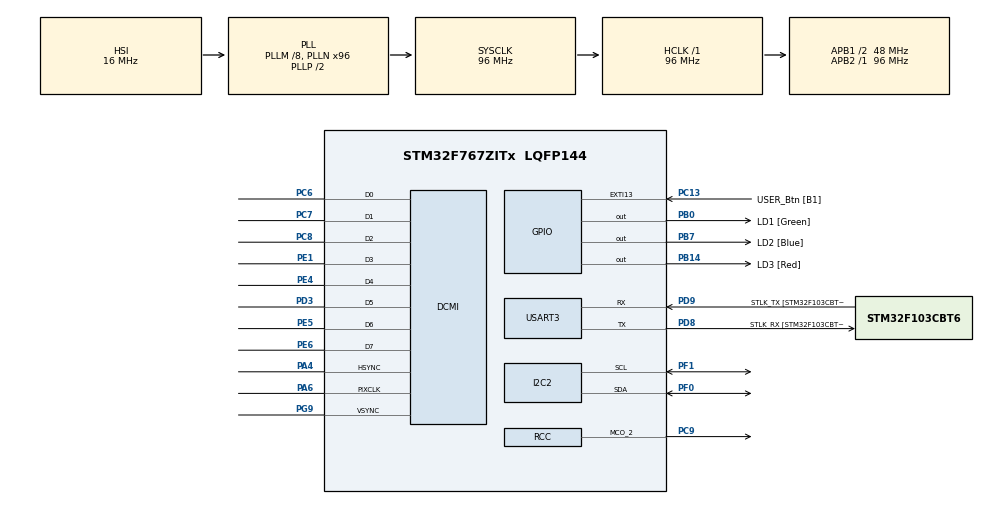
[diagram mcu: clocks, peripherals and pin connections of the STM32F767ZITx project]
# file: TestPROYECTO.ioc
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CORTEX_M7.CPU_DCache=Enabled
CORTEX_M7.CPU_ICache=Enabled
CORTEX_M7.PREFETCH_ENABLE=1
DCMI.HSPolarity=DCMI_HSPOLARITY_HIGH
DCMI.PCKPolarity=DCMI_PCKPOLARITY_RISING
DCMI.VSPolarity=DCMI_VSPOLARITY_LOW
Dma.DCMI.0.Direction=DMA_PERIPH_TO_MEMORY
Dma.DCMI.0.FIFOMode=DMA_FIFOMODE_ENABLE
Dma.DCMI.0.FIFOThreshold=DMA_FIFO_THRESHOLD_FULL
Dma.DCMI.0.Instance=DMA2_Stream1
Dma.DCMI.0.MemBurst=DMA_MBURST_SINGLE
Dma.DCMI.0.MemDataAlignment=DMA_MDATAALIGN_WORD
Dma.DCMI.0.MemInc=DMA_MINC_ENABLE
Dma.DCMI.0.Mode=DMA_CIRCULAR
Dma.DCMI.0.PeriphBurst=DMA_PBURST_SINGLE
Dma.DCMI.0.PeriphDataAlignment=DMA_PDATAALIGN_WORD
Dma.DCMI.0.PeriphInc=DMA_PINC_DISABLE
Dma.DCMI.0.Priority=DMA_PRIORITY_LOW
Dma.Request0=DCMI
I2C2.Timing=0x20303E5D
Mcu.Family=STM32F7
Mcu.Name=STM32F767ZITx
Mcu.Package=LQFP144
NVIC.DCMI_IRQn=true\:0\:0\:false\:false\:true\:true\:true\:true
NVIC.DMA2_Stream1_IRQn=true\:0\:0\:false\:false\:true\:false\:true\:true
NVIC.PriorityGroup=NVIC_PRIORITYGROUP_4
PA13.GPIO_Label=TMS
PA13.Mode=Serial_Wire
PA13.Signal=SYS_JTMS-SWDIO
PA14.GPIO_Label=TCK
PA14.Mode=Serial_Wire
PA14.Signal=SYS_JTCK-SWCLK
PA4.Mode=Slave_8_bits_External_Synchro
PA4.Signal=DCMI_HSYNC
PA6.Mode=Slave_8_bits_External_Synchro
PA6.Signal=DCMI_PIXCLK
PB0.GPIO_Label=LD1 [Green]
PB0.Signal=GPIO_Output
PB14.GPIO_Label=LD3 [Red]
PB14.Signal=GPIO_Output
PB3.GPIO_Label=SWO
PB3.Signal=SYS_JTDO-SWO
PB7.GPIO_Label=LD2 [Blue]
PB7.Signal=GPIO_Output
PC13.GPIO_Label=USER_Btn [B1]
PC13.Signal=GPXTI13
PC14/OSC32_IN.Mode=LSE-External-Oscillator
PC14/OSC32_IN.Signal=RCC_OSC32_IN
PC15/OSC32_OUT.Mode=LSE-External-Oscillator
PC15/OSC32_OUT.Signal=RCC_OSC32_OUT
PC6.Mode=Slave_8_bits_External_Synchro
PC6.Signal=DCMI_D0
PC7.Mode=Slave_8_bits_External_Synchro
PC7.Signal=DCMI_D1
PC8.Mode=Slave_8_bits_External_Synchro
PC8.Signal=DCMI_D2
PC9.Mode=Clock-out-2
PC9.Signal=RCC_MCO_2
PD3.Mode=Slave_8_bits_External_Synchro
PD3.Signal=DCMI_D5
PD8.GPIO_Label=STLK_RX [STM32F103CBT6_PA3]
PD8.Mode=Asynchronous
PD8.Signal=USART3_TX
PD9.GPIO_Label=STLK_TX [STM32F103CBT6_PA2]
PD9.Mode=Asynchronous
PD9.Signal=USART3_RX
PE1.Mode=Slave_8_bits_External_Synchro
PE1.Signal=DCMI_D3
PE4.Mode=Slave_8_bits_External_Synchro
PE4.Signal=DCMI_D4
PE5.Mode=Slave_8_bits_External_Synchro
PE5.Signal=DCMI_D6
PE6.Mode=Slave_8_bits_External_Synchro
PE6.Signal=DCMI_D7
PF0.Mode=I2C
PF0.Signal=I2C2_SDA
PF1.Mode=I2C
PF1.Signal=I2C2_SCL
PG9.Mode=Slave_8_bits_External_Synchro
PG9.Signal=DCMI_VSYNC
PH0/OSC_IN.GPIO_Label=MCO [STM32F103CBT6_PA8]
PH0/OSC_IN.Signal=RCC_OSC_IN
PH1/OSC_OUT.Signal=RCC_OSC_OUT
ProjectManager.HeapSize=0x200
ProjectManager.StackSize=0x400
ProjectManager.TargetToolchain=STM32CubeIDE
RCC.48MHZClocksFreq_Value=24000000
RCC.AHBFreq_Value=96000000
RCC.APB1CLKDivider=RCC_HCLK_DIV2
RCC.APB1Freq_Value=48000000
RCC.APB1TimFreq_Value=96000000
RCC.APB2Freq_Value=96000000
RCC.APB2TimFreq_Value=96000000
RCC.CortexFreq_Value=96000000
RCC.HCLKFreq_Value=96000000
RCC.HSE_VALUE=8000000
RCC.HSI_VALUE=16000000
RCC.PLLM=8
RCC.PLLMUL=RCC_PLL_MUL9
RCC.PLLN=96
RCC.PLLQ=4
RCC.PRESCALERUSB=RCC_USBCLKSOURCE_PLL_DIV1_5
RCC.RCC_MCODiv2=RCC_MCODIV_5
RCC.SYSCLKFreq_VALUE=96000000
RCC.SYSCLKSource=RCC_SYSCLKSOURCE_PLLCLK
RCC.SYSCLKSourceVirtual=RCC_SYSCLKSOURCE_PLLCLK
RCC.USBFreq_Value=48000000
RCC.VCOOutputFreq_Value=192000000
USART3.VirtualMode-Asynchronous=VM_ASYNC
board=NUCLEO-F767ZI

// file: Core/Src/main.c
/* USER CODE BEGIN Header */
/**
  ******************************************************************************
  * @file           : main.c
  * @brief          : Main program body - Smontoya
  *
  ******************************************************************************
  * @attention
  *
  * Copyright (c) 2023 STMicroelectronics.
  * All rights reserved.
  *
  * This software is licensed under terms that can be found in the LICENSE file
  * in the root directory of this software component.
  * If no LICENSE file comes with this software, it is provided AS-IS.
  *
  ******************************************************************************
  */
/* USER CODE END Header */
#include "main.h"

/* USER CODE BEGIN Includes */
#include "OV7670.h"
#include <string.h>
#include <stdio.h>
#include <stdint.h>
#include <stdbool.h>
/* USER CODE END Includes */

DCMI_HandleTypeDef hdcmi;
DMA_HandleTypeDef hdma_dcmi;

I2C_HandleTypeDef hi2c2;

UART_HandleTypeDef huart3;

/* USER CODE BEGIN PV */
HAL_StatusTypeDef ret;
char usart_buffer[64] = {0};
uint8_t i2c_buffer = 0;
uint32_t image_data[88*72] = {0}; //max resolution is CIF

uint32_t count = 0;
uint8_t DMA_cplt = 0;
Camera_settings OV7670_settings={
		QQCIF, 		//Resolution
		YUV422, 	//Format
		NORMAL, 	//Effect
		ON,			//AEC
		ON, 		//AGC
		ON, 		//AWB
		OFF,		//Color bar
		OFF,		//vertical flip
		OFF,		//Horizontal flip
		OFF,		//Night mode
		OFF,		//ASC
		ON,			//De-noise
		ON,			//Banding filter
		HISTOGRAM,	//AEC algorithm
		QUARTER_FPS,//Min. fps in night mode
		F_AUTO,		//Auto detect banding freq.
		256, 		//Exposure - 2 bytes
		4, 			//Gain	[0-7]=[1-128]
		160,		//Brightness - byte
		64, 		//Contrast - byte
		80, 		//Saturation - byte
		2,			//Sharpness	- [0-31]
		0,			//De-noise strength - byte
		x16, 		//Gain ceiling
		77, 		//R channel gain - byte
		103, 		//G channel gain - byte
		153			//B channel gain - byte
};
/* USER CODE END PV */

void SystemClock_Config(void);
static void MX_GPIO_Init(void);
static void MX_DMA_Init(void);
static void MX_DCMI_Init(void);
static void MX_I2C2_Init(void);
static void MX_USART3_UART_Init(void);
/* USER CODE BEGIN PFP */
void DMATransferComplete(DMA_HandleTypeDef *hdma);
/* USER CODE END PFP */

int main(void)
{

  /* Enable I-Cache---------------------------------------------------------*/
  SCB_EnableICache();

  /* Enable D-Cache---------------------------------------------------------*/
  SCB_EnableDCache();

  /* MCU Configuration--------------------------------------------------------*/

  /* Reset of all peripherals, Initializes the Flash interface and the Systick. */
  HAL_Init();

  /* Configure the system clock */
  SystemClock_Config();

  /* Initialize all configured peripherals */
  MX_GPIO_Init();
  MX_DMA_Init();
  MX_DCMI_Init();
  MX_I2C2_Init();
  MX_USART3_UART_Init();
  /* USER CODE BEGIN 2 */

  HAL_DMA_RegisterCallback(&hdma_dcmi, HAL_DMA_XFER_CPLT_CB_ID, &DMATransferComplete);
  OV7670_Power(DISABLE);
  OV7670_Init(&hdcmi, &hdma_dcmi, &hi2c2);

  OV7670_PowerUp();
  OV7670_UpdateSettings(OV7670_settings);
  HAL_Delay(10);

  OV7670_ReadSCCB(0x0b, &i2c_buffer);

  sprintf(usart_buffer, "ID %x\n", i2c_buffer);
  HAL_UART_Transmit(&huart3,(uint8_t*) usart_buffer, strlen(usart_buffer), 100);

  OV7670_ReadSCCB(0x0a, &i2c_buffer);
  sprintf(usart_buffer, "ID %x\n", i2c_buffer);
  HAL_UART_Transmit(&huart3,(uint8_t*) usart_buffer, strlen(usart_buffer), 100);

  ret = HAL_DCMI_Start_DMA(&hdcmi, DCMI_MODE_SNAPSHOT, (uint32_t)image_data, 88*72);
  if(ret != HAL_OK){
	sprintf(usart_buffer, "Error DCMI DMA\n");
	HAL_UART_Transmit(&huart3,(uint8_t*) usart_buffer, strlen(usart_buffer), 100);
  }
  HAL_Delay(100);

  /* USER CODE END 2 */

  /* Infinite loop */
  /* USER CODE BEGIN WHILE */
  while (1)
  {
	  if(DMA_cplt != 0){
		  HAL_UART_Transmit(&huart3, (uint8_t*)"FRAME", sizeof("FRAME"), 100);
	  }
	  else if(image_data[count] != 0){
		  HAL_UART_Transmit(&huart3, (uint8_t*)image_data[count], 4, 100);
		  count++;
	  }
    /* USER CODE END WHILE */

  }
}

void SystemClock_Config(void)
{
  RCC_OscInitTypeDef RCC_OscInitStruct = {0};
  RCC_ClkInitTypeDef RCC_ClkInitStruct = {0};

  /** Configure LSE Drive Capability
  */
  HAL_PWR_EnableBkUpAccess();

  /** Configure the main internal regulator output voltage
  */
  __HAL_RCC_PWR_CLK_ENABLE();
  __HAL_PWR_VOLTAGESCALING_CONFIG(PWR_REGULATOR_VOLTAGE_SCALE3);

  /** Initializes the RCC Oscillators according to the specified parameters
  * in the RCC_OscInitTypeDef structure.
  */
  RCC_OscInitStruct.OscillatorType = RCC_OSCILLATORTYPE_HSI;
  RCC_OscInitStruct.HSIState = RCC_HSI_ON;
  RCC_OscInitStruct.HSICalibrationValue = RCC_HSICALIBRATION_DEFAULT;
  RCC_OscInitStruct.PLL.PLLState = RCC_PLL_ON;
  RCC_OscInitStruct.PLL.PLLSource = RCC_PLLSOURCE_HSI;
  RCC_OscInitStruct.PLL.PLLM = 8;
  RCC_OscInitStruct.PLL.PLLN = 96;
  RCC_OscInitStruct.PLL.PLLP = RCC_PLLP_DIV2;
  RCC_OscInitStruct.PLL.PLLQ = 4;
  RCC_OscInitStruct.PLL.PLLR = 2;
  if (HAL_RCC_OscConfig(&RCC_OscInitStruct) != HAL_OK)
  {
    Error_Handler();
  }

  /** Activate the Over-Drive mode
  */
  if (HAL_PWREx_EnableOverDrive() != HAL_OK)
  {
    Error_Handler();
  }

  /** Initializes the CPU, AHB and APB buses clocks
  */
  RCC_ClkInitStruct.ClockType = RCC_CLOCKTYPE_HCLK|RCC_CLOCKTYPE_SYSCLK
                              |RCC_CLOCKTYPE_PCLK1|RCC_CLOCKTYPE_PCLK2;
  RCC_ClkInitStruct.SYSCLKSource = RCC_SYSCLKSOURCE_PLLCLK;
  RCC_ClkInitStruct.AHBCLKDivider = RCC_SYSCLK_DIV1;
  RCC_ClkInitStruct.APB1CLKDivider = RCC_HCLK_DIV2;
  RCC_ClkInitStruct.APB2CLKDivider = RCC_HCLK_DIV1;

  if (HAL_RCC_ClockConfig(&RCC_ClkInitStruct, FLASH_LATENCY_3) != HAL_OK)
  {
    Error_Handler();
  }
  HAL_RCC_MCOConfig(RCC_MCO2, RCC_MCO2SOURCE_SYSCLK, RCC_MCODIV_5);
}

static void MX_DCMI_Init(void)
{

  hdcmi.Instance = DCMI;
  hdcmi.Init.SynchroMode = DCMI_SYNCHRO_HARDWARE;
  hdcmi.Init.PCKPolarity = DCMI_PCKPOLARITY_RISING;
  hdcmi.Init.VSPolarity = DCMI_VSPOLARITY_LOW;
  hdcmi.Init.HSPolarity = DCMI_HSPOLARITY_HIGH;
  hdcmi.Init.CaptureRate = DCMI_CR_ALL_FRAME;
  hdcmi.Init.ExtendedDataMode = DCMI_EXTEND_DATA_8B;
  hdcmi.Init.JPEGMode = DCMI_JPEG_DISABLE;
  hdcmi.Init.ByteSelectMode = DCMI_BSM_ALL;
  hdcmi.Init.ByteSelectStart = DCMI_OEBS_ODD;
  hdcmi.Init.LineSelectMode = DCMI_LSM_ALL;
  hdcmi.Init.LineSelectStart = DCMI_OELS_ODD;
  if (HAL_DCMI_Init(&hdcmi) != HAL_OK)
  {
    Error_Handler();
  }

}

static void MX_I2C2_Init(void)
{

  hi2c2.Instance = I2C2;
  hi2c2.Init.Timing = 0x20303E5D;
  hi2c2.Init.OwnAddress1 = 0;
  hi2c2.Init.AddressingMode = I2C_ADDRESSINGMODE_7BIT;
  hi2c2.Init.DualAddressMode = I2C_DUALADDRESS_DISABLE;
  hi2c2.Init.OwnAddress2 = 0;
  hi2c2.Init.OwnAddress2Masks = I2C_OA2_NOMASK;
  hi2c2.Init.GeneralCallMode = I2C_GENERALCALL_DISABLE;
  hi2c2.Init.NoStretchMode = I2C_NOSTRETCH_DISABLE;
  if (HAL_I2C_Init(&hi2c2) != HAL_OK)
  {
    Error_Handler();
  }

  /** Configure Analogue filter
  */
  if (HAL_I2CEx_ConfigAnalogFilter(&hi2c2, I2C_ANALOGFILTER_ENABLE) != HAL_OK)
  {
    Error_Handler();
  }

  /** Configure Digital filter
  */
  if (HAL_I2CEx_ConfigDigitalFilter(&hi2c2, 0) != HAL_OK)
  {
    Error_Handler();
  }

}

static void MX_USART3_UART_Init(void)
{

  huart3.Instance = USART3;
  huart3.Init.BaudRate = 115200;
  huart3.Init.WordLength = UART_WORDLENGTH_8B;
  huart3.Init.StopBits = UART_STOPBITS_1;
  huart3.Init.Parity = UART_PARITY_NONE;
  huart3.Init.Mode = UART_MODE_TX_RX;
  huart3.Init.HwFlowCtl = UART_HWCONTROL_NONE;
  huart3.Init.OverSampling = UART_OVERSAMPLING_16;
  huart3.Init.OneBitSampling = UART_ONE_BIT_SAMPLE_DISABLE;
  huart3.AdvancedInit.AdvFeatureInit = UART_ADVFEATURE_NO_INIT;
  if (HAL_UART_Init(&huart3) != HAL_OK)
  {
    Error_Handler();
  }

}

static void MX_DMA_Init(void)
{

  /* DMA controller clock enable */
  __HAL_RCC_DMA2_CLK_ENABLE();

  /* DMA interrupt init */
  /* DMA2_Stream1_IRQn interrupt configuration */
  HAL_NVIC_SetPriority(DMA2_Stream1_IRQn, 0, 0);
  HAL_NVIC_EnableIRQ(DMA2_Stream1_IRQn);

}

static void MX_GPIO_Init(void)
{
  GPIO_InitTypeDef GPIO_InitStruct = {0};

  /* GPIO Ports Clock Enable */
  __HAL_RCC_GPIOE_CLK_ENABLE();
  __HAL_RCC_GPIOC_CLK_ENABLE();
  __HAL_RCC_GPIOF_CLK_ENABLE();
  __HAL_RCC_GPIOH_CLK_ENABLE();
  __HAL_RCC_GPIOA_CLK_ENABLE();
  __HAL_RCC_GPIOB_CLK_ENABLE();
  __HAL_RCC_GPIOD_CLK_ENABLE();
  __HAL_RCC_GPIOG_CLK_ENABLE();

  /*Configure GPIO pin Output Level */
  HAL_GPIO_WritePin(GPIOB, LD1_Pin|LD3_Pin|LD2_Pin, GPIO_PIN_RESET);

  /*Configure GPIO pin : USER_Btn_Pin */
  GPIO_InitStruct.Pin = USER_Btn_Pin;
  GPIO_InitStruct.Mode = GPIO_MODE_IT_RISING;
  GPIO_InitStruct.Pull = GPIO_NOPULL;
  HAL_GPIO_Init(USER_Btn_GPIO_Port, &GPIO_InitStruct);

  /*Configure GPIO pins : LD1_Pin LD3_Pin LD2_Pin */
  GPIO_InitStruct.Pin = LD1_Pin|LD3_Pin|LD2_Pin;
  GPIO_InitStruct.Mode = GPIO_MODE_OUTPUT_PP;
  GPIO_InitStruct.Pull = GPIO_NOPULL;
  GPIO_InitStruct.Speed = GPIO_SPEED_FREQ_LOW;
  HAL_GPIO_Init(GPIOB, &GPIO_InitStruct);

  /*Configure GPIO pin : PC9 */
  GPIO_InitStruct.Pin = GPIO_PIN_9;
  GPIO_InitStruct.Mode = GPIO_MODE_AF_PP;
  GPIO_InitStruct.Pull = GPIO_NOPULL;
  GPIO_InitStruct.Speed = GPIO_SPEED_FREQ_LOW;
  GPIO_InitStruct.Alternate = GPIO_AF0_MCO;
  HAL_GPIO_Init(GPIOC, &GPIO_InitStruct);

}

/* USER CODE BEGIN 4 */
void DMATransferComplete(DMA_HandleTypeDef *hdma){
	//Disable DCMI
	HAL_DCMI_Stop(&hdcmi);
	DMA_cplt = 1;
}

void HAL_DCMI_FrameEventCallback(DCMI_HandleTypeDef *hdcmi){
	//Disable DCMI
	HAL_DCMI_Stop(hdcmi);
	DMA_cplt = 1;
}
/* USER CODE END 4 */

void Error_Handler(void)
{
  __disable_irq();
  while (1)
  {
  }
}
